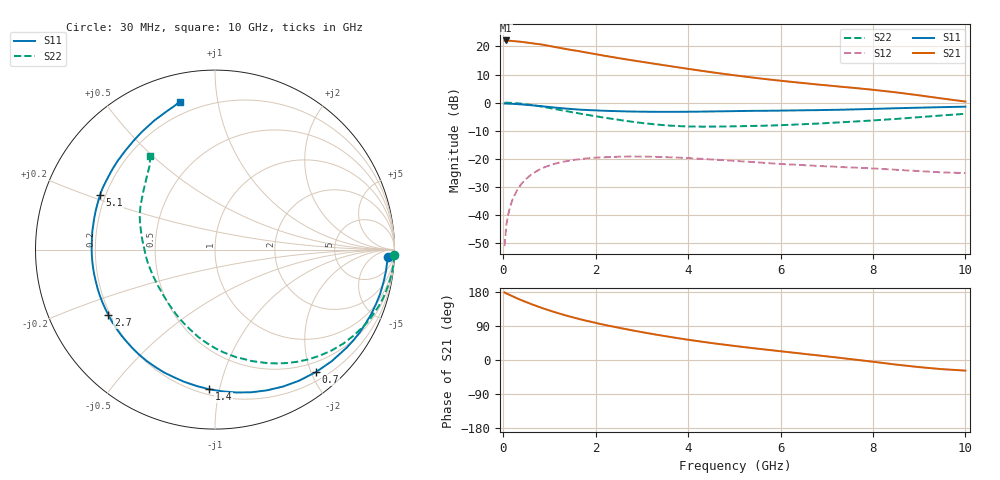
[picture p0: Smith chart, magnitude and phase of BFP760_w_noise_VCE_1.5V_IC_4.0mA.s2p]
! Infineon Technologies  Discrete & RF Semiconductors
! BFP760
! VCE =  1.5 V,  IC =  4.0 mA
! Common Emitter S-Parameters:  Nov 2012
# GHz  S  MA  R  50
!  f  S11  S21  S12  S22
! GHz  MAG  ANG  MAG  ANG  MAG  ANG  MAG  ANG
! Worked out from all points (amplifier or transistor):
!   99 points, 30 MHz to 10 GHz, reference 50 ohm
!   highest |S21| = 22.1 dB at 50 MHz (marker M1)
!   |S21| within 3 dB of that: start of sweep to 1.343 GHz
!   unconditionally stable (mu >= 1): 6.552 GHz to end of sweep
!   at 350 MHz: K = 0.07, MSG = 25.8 dB, |S12| = -29.9 dB
!   at 3.5 GHz: K = 0.43, MSG = 16.3 dB, |S12| = -19.4 dB
!   at 10 GHz: K = 1.44, MAG = 8.8 dB, |S12| = -25.1 dB
!   lowest NFmin = 0.43 dB at 900 MHz
!   S11 on the Smith chart (normalised r, x): 30 MHz: 25, -26; 700 MHz: 0.33, -2.08; 1.4 GHz: 0.24, -0.93; 2.7 GHz: 0.19, -0.27; 5.1 GHz: 0.18, +0.22; 10 GHz: 0.13, +0.78
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0.03  0.9623 -2.3  12.57 178.2  0.0028 95.5  0.9992 -1.8
0.04  0.9626 -3.1  12.59 177.8  0.0039 88.9  0.9989 -2.3
0.05  0.9616 -3.8  12.76 176.6  0.0043 86.1  0.9977 -2.8
0.07  0.9608 -5.4  12.75 175.5  0.007 88.3  0.998 -3.9
0.13  0.9574 -9.8  12.63 172.1  0.0124 83.2  0.9943 -7.2
0.35  0.9347 -26.1  12.16 160.1  0.032 73.6  0.966 -18.9
0.45  0.9223 -33.2  11.89 155.0  0.0405 69.1  0.9471 -24.0
0.7  0.8844 -50.4  11.14 143.4  0.059 58.5  0.8859 -36.3
0.8  0.8676 -57.4  10.91 138.9  0.0654 54.6  0.8594 -40.8
1  0.8356 -69.8  10.19 130.7  0.0765 47.2  0.8031 -49.6
1.2  0.805 -81.5  9.498 123.1  0.0852 40.6  0.7479 -57.7
1.4  0.7786 -92.5  8.864 116.1  0.092 34.8  0.6975 -65.1
1.7  0.7469 -108.0  8.054 106.5  0.0996 27.2  0.6292 -75.4
2.2  0.7162 -129.9  6.805 92.5  0.1069 16.2  0.5386 -91.9
2.7  0.6969 -148.4  5.812 80.4  0.1098 7.2  0.4682 -106.8
3  0.6908 -158.6  5.325 73.5  0.1096 2.5  0.4349 -116.2
3.4  0.6868 -170.8  4.737 65.1  0.108 -3.0  0.4024 -128.1
4.1  0.6907 171.8  3.884 51.7  0.1022 -11.2  0.3762 -147.6
5.1  0.7088 154.7  2.994 35.7  0.091 -18.6  0.3807 -168.1
6.7  0.7347 137.1  2.141 13.7  0.0757 -23.0  0.4207 167.6
8.5  0.7947 115.2  1.523 -12.1  0.064 -24.0  0.5132 141.2
10  0.8475 103.4  1.045 -28.0  0.0559 -17.7  0.6329 124.7
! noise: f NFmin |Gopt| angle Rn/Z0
0.9  0.43  0.46  26  0.14
1.8  0.52  0.39  54  0.12
2.4  0.63  0.33  75  0.11
3.5  0.81  0.27  109  0.1
5.5  1.15  0.36  -157  0.08
8  1.69  0.49  -104  0.29
